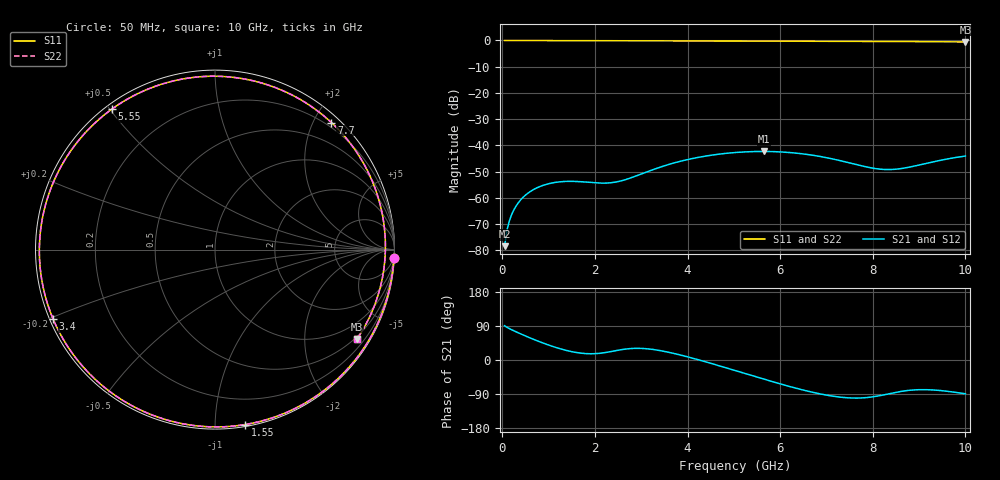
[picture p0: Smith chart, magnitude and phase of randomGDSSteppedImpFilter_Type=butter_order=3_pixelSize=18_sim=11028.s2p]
! freq	dB(S11)	phase(S11)	dB(S12)	phase(S12)
!  dB(S21)	phase(S21)	dB(S22)	phase(S22)
!S-par simulation data
#  GHz  S  DB  R 50
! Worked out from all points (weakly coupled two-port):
!   200 points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, 50 MHz to 10 GHz, reference 50 ohm
!   highest |S21| = -42.34 dB at 5.65 GHz (marker M1); lowest = -78.4 dB at 50 MHz (marker M2)
!   lowest |S11| = -0.6 dB at 10 GHz (marker M3), VSWR 29.61, Z = 21.6 - j170 ohm
!   |S11| at or under -10 dB: nowhere
!   |S22| runs from -0.6 to 0.0 dB; largest |S21 - S12| = 0
!   S11 on the Smith chart (normalised r, x): 50 MHz: 2, -44; 1.55 GHz: 0.01, -1.19; 3.4 GHz: 0.01, -0.20; 5.55 GHz: 0.02, +0.51; 7.7 GHz: 0.13, +2.27; 10 GHz: 0.43, -3.41
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0.05  -0.01 -2.6  -78.45 90.6  -78.45 90.6  -0.01 -2.6
0.1  -0.02 -5.4  -72.43 86.2  -72.43 86.2  -0.02 -5.4
0.2  -0.03 -10.8  -66.48 79.9  -66.48 79.9  -0.03 -10.8
0.45  -0.04 -24.4  -59.81 66.1  -59.81 66.1  -0.04 -24.3
0.9  -0.06 -48.0  -55.14 43.9  -55.14 43.9  -0.06 -48.0
1.2  -0.08 -63.2  -54.00 31.5  -54.00 31.5  -0.08 -63.2
1.55  -0.09 -80.1  -53.75 20.8  -53.75 20.8  -0.09 -80.1
1.75  -0.10 -89.4  -53.94 17.4  -53.94 17.4  -0.10 -89.4
2.45  -0.13 -119.8  -54.01 24.6  -54.01 24.6  -0.13 -119.7
2.95  -0.15 -139.8  -51.26 30.8  -51.26 30.8  -0.15 -139.7
3.4  -0.16 -156.8  -48.38 25.0  -48.38 25.0  -0.16 -156.8
4.2  -0.19 174.1  -44.69 1.7  -44.69 1.7  -0.19 174.1
5.05  -0.23 144.0  -42.71 -28.6  -42.71 -28.6  -0.23 144.0
5.55  -0.26 126.2  -42.34 -46.9  -42.34 -46.9  -0.26 126.2
5.65  -0.26 122.6  -42.34 -50.5  -42.34 -50.5  -0.26 122.6
6.2  -0.29 102.7  -42.74 -69.7  -42.74 -69.7  -0.29 102.7
6.7  -0.31 84.4  -43.77 -85.2  -43.77 -85.2  -0.31 84.4
7.2  -0.33 66.0  -45.45 -96.6  -45.45 -96.6  -0.33 66.0
7.7  -0.35 47.5  -47.57 -100.4  -47.57 -100.4  -0.35 47.5
8.35  -0.39 23.8  -49.24 -89.1  -49.24 -89.1  -0.39 23.8
9.15  -0.47 -4.3  -46.91 -78.3  -46.91 -78.3  -0.47 -4.3
10  -0.59 -32.2  -44.08 -89.3  -44.08 -89.3  -0.59 -32.2
